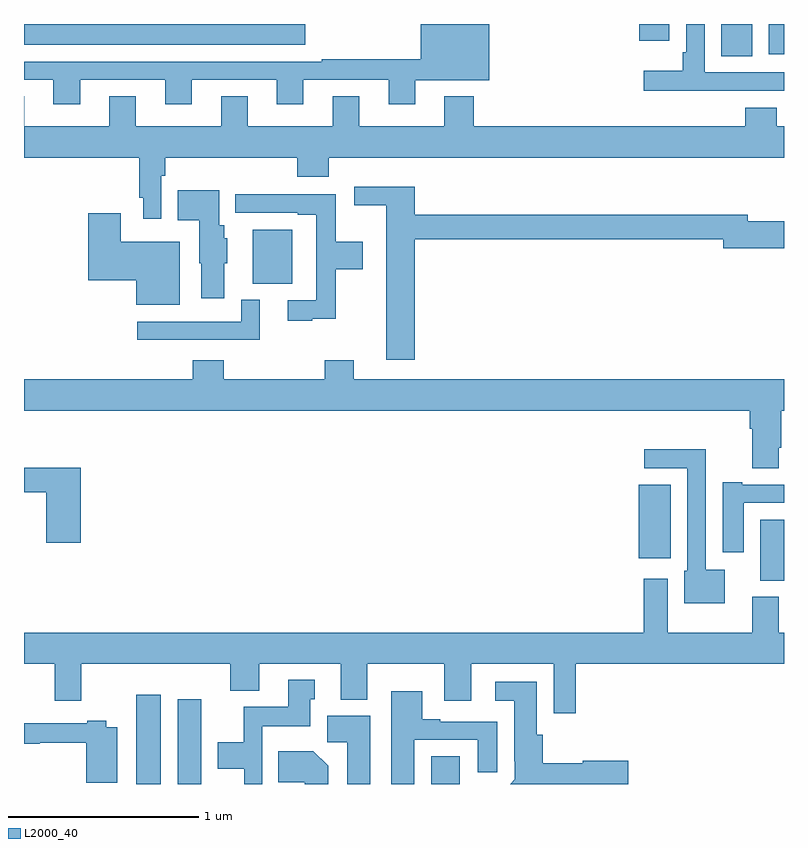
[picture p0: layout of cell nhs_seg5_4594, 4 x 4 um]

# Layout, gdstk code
import gdstk
lib = gdstk.Library(unit=1e-6, precision=1e-09)
def R(c, l, rs):  # rectangles x0, y0, x1, y1
    for r in rs: c.add(gdstk.rectangle(r[:2], r[2:], *l))
def P(c, l, *ps):  # polygons
    for p in ps: c.add(gdstk.Polygon(p, *l))
L2000_40 = (2000, 40)

nhs_seg5_4594 = lib.new_cell('nhs_seg5_4594')
R(nhs_seg5_4594, L2000_40, [(381.59,850.799,381.721,851.269), (381.809,850.799,381.934,851.245), (383.144,850.799,383.293,850.946), (384.875,851.87,385,852.19), (384.236,851.987,384.403,852.373), (382.205,853.433,382.411,853.717), (384.671,854.629,384.832,854.799), (384.92,854.64,385,854.799), (381,854.69,382.48,854.799), (384.239,854.712,384.397,854.799)])
P(nhs_seg5_4594, L2000_40, [(381.295,854.505),(381.743,854.505),(381.743,854.376),(381.883,854.376),(381.883,854.505),(382.331,854.505),(382.331,854.376),(382.471,854.376),(382.471,854.505),(382.919,854.505),(382.919,854.376),(383.059,854.376),(383.059,854.504),(383.449,854.504),(383.449,854.799),(383.087,854.799),(383.087,854.614),(382.567,854.614),(382.567,854.601),(381,854.601),(381,854.505),(381.155,854.505),(381.155,854.376),(381.295,854.376)],
  [(384.679,854.448),(385,854.448),(385,854.544),(384.582,854.544),(384.582,854.799),(384.486,854.799),(384.486,854.65),(384.466,854.65),(384.466,854.554),(384.261,854.554),(384.261,854.447),(384.679,854.447)],
  [(381.723,854),(381.743,854),(381.743,854.096),(382.439,854.096),(382.439,853.994),(382.604,853.994),(382.604,854.096),(385,854.096),(385,854.26),(384.962,854.26),(384.962,854.359),(384.797,854.359),(384.797,854.26),(383.366,854.26),(383.366,854.419),(383.213,854.419),(383.213,854.26),(382.765,854.26),(382.765,854.42),(382.625,854.42),(382.625,854.26),(382.177,854.26),(382.177,854.42),(382.037,854.42),(382.037,854.26),(381.589,854.26),(381.589,854.42),(381.449,854.42),(381.449,854.26),(381.001,854.26),(381.001,854.42),(381,854.42),(381,854.096),(381.607,854.096),(381.607,853.885),(381.627,853.885),(381.627,853.773),(381.723,853.773)],
  [(383.057,853.666),(384.68,853.666),(384.68,853.619),(385,853.619),(385,853.761),(384.808,853.761),(384.808,853.795),(383.057,853.795),(383.057,853.942),(382.737,853.942),(382.737,853.844),(382.907,853.844),(382.907,853.032),(383.057,853.032)],
  [(382.054,853.539),(382.069,853.539),(382.069,853.671),(382.054,853.671),(382.054,853.74),(382.027,853.74),(382.027,853.924),(381.808,853.924),(381.808,853.766),(381.923,853.766),(381.923,853.539),(381.932,853.539),(381.932,853.356),(382.054,853.356)],
  [(382.517,853.247),(382.64,853.247),(382.64,853.507),(382.783,853.507),(382.783,853.654),(382.64,853.654),(382.64,853.902),(382.355,853.902),(382.355,853.904),(382.113,853.904),(382.113,853.806),(382.442,853.806),(382.442,853.794),(382.539,853.794),(382.539,853.344),(382.389,853.344),(382.389,853.236),(382.517,853.236)],
  [(381.82,853.654),(381.508,853.654),(381.508,853.804),(381.338,853.804),(381.338,853.451),(381.59,853.451),(381.59,853.322),(381.82,853.322)],
  [(382.24,853.348),(382.143,853.348),(382.143,853.233),(381.597,853.233),(381.597,853.137),(382.24,853.137)],
  [(384.973,852.568),(384.986,852.568),(384.986,852.764),(385,852.764),(385,852.928),(382.735,852.928),(382.735,853.03),(382.583,853.03),(382.583,852.928),(382.052,852.928),(382.052,853.03),(381.887,853.03),(381.887,852.928),(381,852.928),(381,852.764),(384.821,852.764),(384.821,852.668),(384.833,852.668),(384.833,852.46),(384.973,852.46)],
  [(384.688,851.926),(384.588,851.926),(384.588,852.56),(384.264,852.56),(384.264,852.462),(384.492,852.462),(384.492,851.922),(384.476,851.922),(384.476,851.75),(384.688,851.75)],
  [(381.299,852.463),(381,852.463),(381,852.334),(381.116,852.334),(381.116,852.069),(381.299,852.069)],
  [(384.787,852.279),(385,852.279),(385,852.375),(384.781,852.375),(384.781,852.388),(384.677,852.388),(384.677,852.018),(384.787,852.018)],
  [(383.903,851.432),(385,851.432),(385,851.596),(384.973,851.596),(384.973,851.785),(384.833,851.785),(384.833,851.596),(384.388,851.596),(384.388,851.878),(384.263,851.878),(384.263,851.596),(381,851.596),(381,851.432),(381.161,851.432),(381.161,851.238),(381.301,851.238),(381.301,851.432),(382.085,851.432),(382.085,851.291),(382.237,851.291),(382.237,851.432),(382.667,851.432),(382.667,851.243),(382.807,851.243),(382.807,851.432),(383.213,851.432),(383.213,851.238),(383.353,851.238),(383.353,851.432),(383.787,851.432),(383.787,851.172),(383.903,851.172)],
  [(382.254,851.102),(382.507,851.102),(382.507,851.244),(382.531,851.244),(382.531,851.347),(382.391,851.347),(382.391,851.206),(382.156,851.206),(382.156,851.02),(382.019,851.02),(382.019,850.88),(382.158,850.88),(382.158,850.799),(382.254,850.799)],
  [(384.181,850.922),(383.94,850.922),(383.94,850.909),(383.729,850.909),(383.729,851.058),(383.698,851.058),(383.698,851.338),(383.481,851.338),(383.481,851.237),(383.579,851.237),(383.579,850.918),(383.583,850.918),(383.583,850.824),(383.558,850.799),(384.181,850.799)],
  [(383.053,851.031),(383.387,851.031),(383.387,850.86),(383.491,850.86),(383.491,851.127),(383.191,851.127),(383.191,851.14),(383.095,851.14),(383.095,851.287),(382.934,851.287),(382.934,850.799),(383.053,850.799)],
  [(382.822,851.158),(382.595,851.158),(382.595,851.02),(382.7,851.02),(382.7,850.799),(382.822,850.799)],
  [(381.49,851.098),(381.432,851.098),(381.432,851.131),(381.332,851.131),(381.332,851.118),(381,851.118),(381,851.01),(381.084,851.01),(381.084,851.017),(381.328,851.017),(381.328,850.805),(381.49,850.805)],
  [(382.6,850.894),(382.522,850.972),(382.339,850.972),(382.339,850.808),(382.478,850.808),(382.478,850.799),(382.6,850.799)])

lib.write_gds('nhs_seg5_4594.gds')
